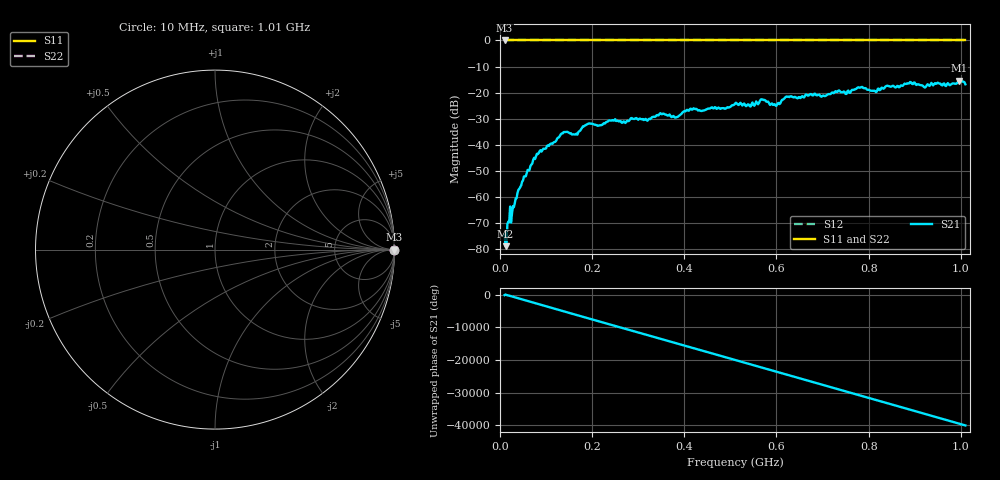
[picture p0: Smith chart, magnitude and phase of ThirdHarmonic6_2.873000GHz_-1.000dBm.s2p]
! 8/17/2025 7:51:35 AM
! C:\ANRITSUVNA\TEMP\TEMP.S2P
! CHANNEL.1
! TR.MEASUREMENT
! RAW.DATA
! RF.CORRECTION.OFF
! AVERAGING.OFF
! IF.BANDWIDTH: 5KHZ
! SWEEPTYPE:  FREQ.SWEEP(Linear)
! Reference Plane Port Info
! PORT:  PORT1  PORT2
! DISTANCE:  0  m  0  m
! TIME:  0  s  0  s
! PHASE.OFFSET:  0  deg.  0  deg.
! LOSS:  0  dB  0  dB
! REF.LOSS:  0  dB  0  dB
! REF.FREQ:  0  Hz  0  Hz
! Power Info
! POWER:  -20  dBm  -20  dBm
! EFF.POWER:  -20  dBm  -20  dBm
! SOURCE.ATTEN:  0  dB  0  dB
! TEST.ATTEN:  0  dB  0  dB
# GHZ S RI R 50.0
! FREQ.GHZ  S11RE  S11IM  S21RE  S21IM  S12RE  S12IM  S22RE  S22IM
!; PortSelection: Port_12
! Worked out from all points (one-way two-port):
!   501 points, 10 MHz to 1.01 GHz, reference 50 ohm
!   highest |S21| = -15.36 dB at 996 MHz (marker M1); lowest = -78.8 dB at 12 MHz (marker M2)
!   lowest |S11| = 0.0 dB at 10 MHz (marker M3)
!   |S11| at or under -10 dB: nowhere
!   |S22| runs from 0.0 to 0.0 dB; largest |S21 - S12| = 1.2
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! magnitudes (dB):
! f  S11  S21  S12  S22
! 10 MHz  0.0  -74.2  0.0  0.0
! 12 MHz  0.0  -78.8  0.0  0.0
! 16 MHz  0.0  -70.3  0.0  0.0
! 20 MHz  0.0  -69.4  0.0  0.0
! 38 MHz  0.0  -58.3  0.0  0.0
! 76 MHz  0.0  -45.4  0.0  0.0
! 136 MHz  0.0  -35.6  0.0  0.0
! 164 MHz  0.0  -36.0  0.0  0.0
! 178 MHz  0.0  -33.4  0.0  0.0
! 344 MHz  0.0  -28.7  0.0  0.0
! 384 MHz  0.0  -29.3  0.0  0.0
! 416 MHz  0.0  -26.5  0.0  0.0
! 510 MHz  0.0  -24.2  0.0  0.0
! 540 MHz  0.0  -24.5  0.0  0.0
! 570 MHz  0.0  -22.6  0.0  0.0
! 596 MHz  0.0  -24.4  0.0  0.0
! 622 MHz  0.0  -21.4  0.0  0.0
! 678 MHz  0.0  -21.0  0.0  0.0
! 814 MHz  0.0  -19.4  0.0  0.0
! 844 MHz  0.0  -17.5  0.0  0.0
! 996 MHz  0.0  -15.4  0.0  0.0
! 1.01 GHz  0.0  -16.8  0.0  0.0
